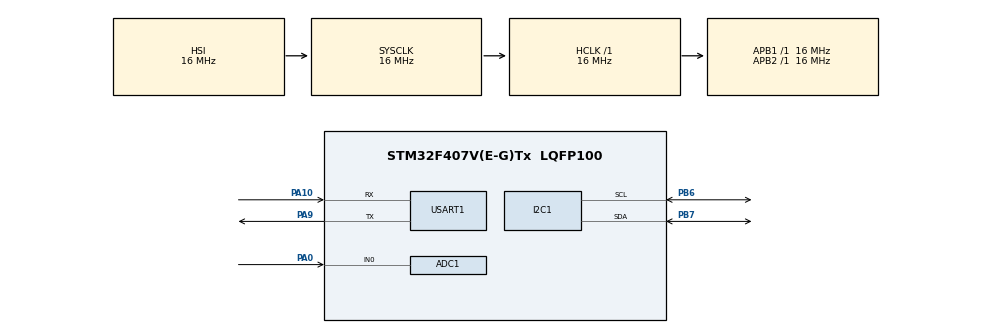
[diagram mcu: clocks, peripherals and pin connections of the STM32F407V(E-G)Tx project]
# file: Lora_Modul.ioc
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ADC1.Channel-0\#ChannelRegularConversion=ADC_CHANNEL_0
ADC1.NbrOfConversionFlag=1
ADC1.Rank-0\#ChannelRegularConversion=1
ADC1.SamplingTime-0\#ChannelRegularConversion=ADC_SAMPLETIME_3CYCLES
ADC1.master=1
I2C1.I2C_Mode=I2C_Fast
Mcu.Family=STM32F4
Mcu.Name=STM32F407V(E-G)Tx
Mcu.Package=LQFP100
NVIC.PriorityGroup=NVIC_PRIORITYGROUP_4
PA0-WKUP.Signal=ADCx_IN0
PA10.Mode=Asynchronous
PA10.Signal=USART1_RX
PA9.Mode=Asynchronous
PA9.Signal=USART1_TX
PB6.Mode=I2C
PB6.Signal=I2C1_SCL
PB7.Mode=I2C
PB7.Signal=I2C1_SDA
ProjectManager.HeapSize=0x200
ProjectManager.StackSize=0x400
ProjectManager.TargetToolchain=STM32CubeIDE
RCC.AHBFreq_Value=16000000
RCC.APB1Freq_Value=16000000
RCC.APB2Freq_Value=16000000
RCC.CortexFreq_Value=16000000
RCC.HSE_VALUE=25000000
RCC.HSI_VALUE=16000000
RCC.LSE_VALUE=32768
RCC.SYSCLKFreq_VALUE=16000000
RCC.VCOOutputFreq_Value=192000000
SH.ADCx_IN0.0=ADC1_IN0,IN0
USART1.VirtualMode=VM_ASYNC
board=custom

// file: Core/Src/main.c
/* USER CODE BEGIN Header */
/**
  ******************************************************************************
  * @file           : main.c
  * @brief          : Main program body
  ******************************************************************************
  * @attention
  *
  * Copyright (c) 2022 STMicroelectronics.
  * All rights reserved.
  *
  * This software is licensed under terms that can be found in the LICENSE file
  * in the root directory of this software component.
  * If no LICENSE file comes with this software, it is provided AS-IS.
  *
  ******************************************************************************
  */
/* USER CODE END Header */
#include "main.h"

/* USER CODE BEGIN Includes */
#include "fonts.h"
#include "ssd1306.h"

/* USER CODE END Includes */

 ADC_HandleTypeDef hadc1;

I2C_HandleTypeDef hi2c1;

UART_HandleTypeDef huart1;

/* USER CODE BEGIN PV */
uint32_t previousTick = 0;
uint16_t readValue;
uint8_t charValue;
uint8_t singleChar[1] = {0};
uint8_t dataBuffer[20] = {0};
uint8_t dataIndex = 0;
uint8_t txBuffer[20] = {0};
uint8_t rxBuffer[20] = {0};
uint8_t rxIndex = 0;
uint8_t rxData;
/* USER CODE END PV */

void SystemClock_Config(void);
static void MX_GPIO_Init(void);
static void MX_USART1_UART_Init(void);
static void MX_I2C1_Init(void);
static void MX_ADC1_Init(void);

int main(void)
{

  /* MCU Configuration--------------------------------------------------------*/

  /* Reset of all peripherals, Initializes the Flash interface and the Systick. */
  HAL_Init();

  /* Configure the system clock */
  SystemClock_Config();

  /* Initialize all configured peripherals */
  MX_GPIO_Init();
  MX_USART1_UART_Init();
  MX_I2C1_Init();
  MX_ADC1_Init();
  /* USER CODE BEGIN 2 */
  SSD1306_Init();
   HAL_UART_Receive_IT(&huart1,&rxData,1);
  /* USER CODE END 2 */

  /* Infinite loop */
  /* USER CODE BEGIN WHILE */
  while (1)
  {
	  HAL_ADC_Start(&hadc1);
	     HAL_ADC_PollForConversion(&hadc1,1000);
	     readValue = HAL_ADC_GetValue(&hadc1);
	     HAL_ADC_Stop(&hadc1);
	     // Convert readValue 0-4095 to charValue 32 to 95
	     charValue = readValue/65 +32;
	     singleChar[0]=charValue;
	     SSD1306_GotoXY (0, 0);
	     SSD1306_Puts ((char *)rxBuffer, &Font_11x18, 1);
	     SSD1306_GotoXY (0, 20);
	     SSD1306_Puts ((char *)dataBuffer, &Font_11x18, 1);
	     SSD1306_GotoXY (53,37);
	     SSD1306_Puts ((char *)singleChar, &Font_16x26, 1);
	     SSD1306_UpdateScreen();
	     HAL_Delay(50);
    /* USER CODE END WHILE */

  }
}

void SystemClock_Config(void)
{
  RCC_OscInitTypeDef RCC_OscInitStruct = {0};
  RCC_ClkInitTypeDef RCC_ClkInitStruct = {0};

  /** Configure the main internal regulator output voltage
  */
  __HAL_RCC_PWR_CLK_ENABLE();
  __HAL_PWR_VOLTAGESCALING_CONFIG(PWR_REGULATOR_VOLTAGE_SCALE1);

  /** Initializes the RCC Oscillators according to the specified parameters
  * in the RCC_OscInitTypeDef structure.
  */
  RCC_OscInitStruct.OscillatorType = RCC_OSCILLATORTYPE_HSI;
  RCC_OscInitStruct.HSIState = RCC_HSI_ON;
  RCC_OscInitStruct.HSICalibrationValue = RCC_HSICALIBRATION_DEFAULT;
  RCC_OscInitStruct.PLL.PLLState = RCC_PLL_NONE;
  if (HAL_RCC_OscConfig(&RCC_OscInitStruct) != HAL_OK)
  {
    Error_Handler();
  }

  /** Initializes the CPU, AHB and APB buses clocks
  */
  RCC_ClkInitStruct.ClockType = RCC_CLOCKTYPE_HCLK|RCC_CLOCKTYPE_SYSCLK
                              |RCC_CLOCKTYPE_PCLK1|RCC_CLOCKTYPE_PCLK2;
  RCC_ClkInitStruct.SYSCLKSource = RCC_SYSCLKSOURCE_HSI;
  RCC_ClkInitStruct.AHBCLKDivider = RCC_SYSCLK_DIV1;
  RCC_ClkInitStruct.APB1CLKDivider = RCC_HCLK_DIV1;
  RCC_ClkInitStruct.APB2CLKDivider = RCC_HCLK_DIV1;

  if (HAL_RCC_ClockConfig(&RCC_ClkInitStruct, FLASH_LATENCY_0) != HAL_OK)
  {
    Error_Handler();
  }
}

static void MX_ADC1_Init(void)
{

  ADC_ChannelConfTypeDef sConfig = {0};

  /** Configure the global features of the ADC (Clock, Resolution, Data Alignment and number of conversion)
  */
  hadc1.Instance = ADC1;
  hadc1.Init.ClockPrescaler = ADC_CLOCK_SYNC_PCLK_DIV2;
  hadc1.Init.Resolution = ADC_RESOLUTION_12B;
  hadc1.Init.ScanConvMode = DISABLE;
  hadc1.Init.ContinuousConvMode = DISABLE;
  hadc1.Init.DiscontinuousConvMode = DISABLE;
  hadc1.Init.ExternalTrigConvEdge = ADC_EXTERNALTRIGCONVEDGE_NONE;
  hadc1.Init.ExternalTrigConv = ADC_SOFTWARE_START;
  hadc1.Init.DataAlign = ADC_DATAALIGN_RIGHT;
  hadc1.Init.NbrOfConversion = 1;
  hadc1.Init.DMAContinuousRequests = DISABLE;
  hadc1.Init.EOCSelection = ADC_EOC_SINGLE_CONV;
  if (HAL_ADC_Init(&hadc1) != HAL_OK)
  {
    Error_Handler();
  }

  /** Configure for the selected ADC regular channel its corresponding rank in the sequencer and its sample time.
  */
  sConfig.Channel = ADC_CHANNEL_0;
  sConfig.Rank = 1;
  sConfig.SamplingTime = ADC_SAMPLETIME_3CYCLES;
  if (HAL_ADC_ConfigChannel(&hadc1, &sConfig) != HAL_OK)
  {
    Error_Handler();
  }

}

static void MX_I2C1_Init(void)
{

  hi2c1.Instance = I2C1;
  hi2c1.Init.ClockSpeed = 400000;
  hi2c1.Init.DutyCycle = I2C_DUTYCYCLE_2;
  hi2c1.Init.OwnAddress1 = 0;
  hi2c1.Init.AddressingMode = I2C_ADDRESSINGMODE_7BIT;
  hi2c1.Init.DualAddressMode = I2C_DUALADDRESS_DISABLE;
  hi2c1.Init.OwnAddress2 = 0;
  hi2c1.Init.GeneralCallMode = I2C_GENERALCALL_DISABLE;
  hi2c1.Init.NoStretchMode = I2C_NOSTRETCH_DISABLE;
  if (HAL_I2C_Init(&hi2c1) != HAL_OK)
  {
    Error_Handler();
  }

}

static void MX_USART1_UART_Init(void)
{

  huart1.Instance = USART1;
  huart1.Init.BaudRate = 115200;
  huart1.Init.WordLength = UART_WORDLENGTH_8B;
  huart1.Init.StopBits = UART_STOPBITS_1;
  huart1.Init.Parity = UART_PARITY_NONE;
  huart1.Init.Mode = UART_MODE_TX_RX;
  huart1.Init.HwFlowCtl = UART_HWCONTROL_NONE;
  huart1.Init.OverSampling = UART_OVERSAMPLING_16;
  if (HAL_UART_Init(&huart1) != HAL_OK)
  {
    Error_Handler();
  }

}

static void MX_GPIO_Init(void)
{

  /* GPIO Ports Clock Enable */
  __HAL_RCC_GPIOA_CLK_ENABLE();
  __HAL_RCC_GPIOB_CLK_ENABLE();

}

void Error_Handler(void)
{
  __disable_irq();
  while (1)
  {
  }
}
